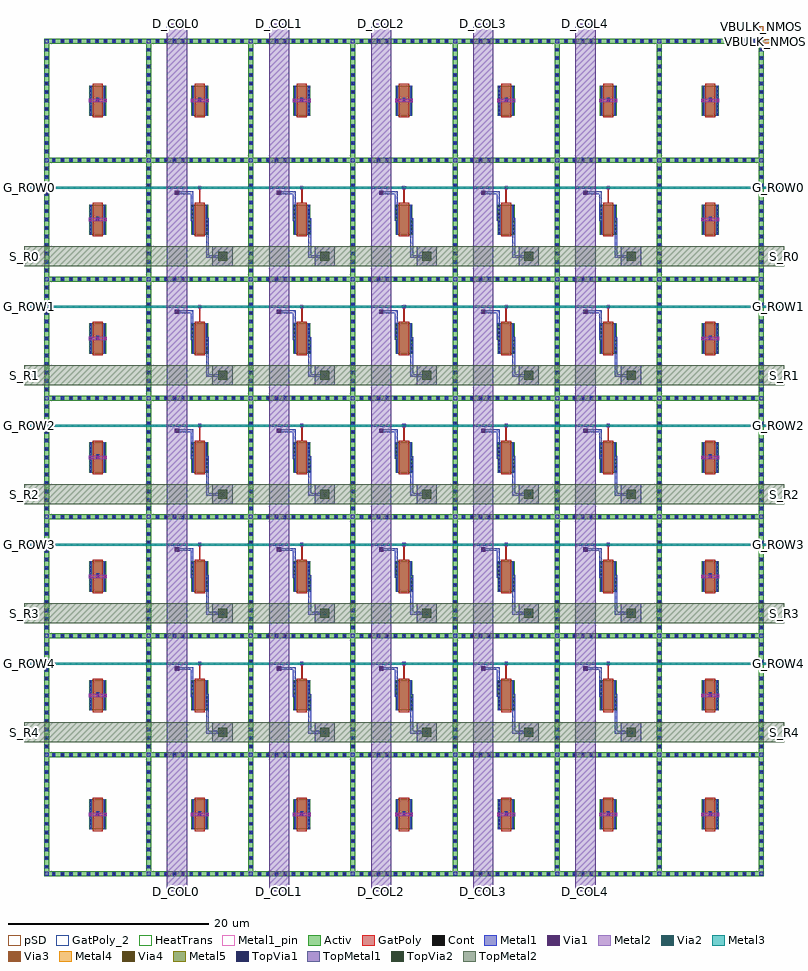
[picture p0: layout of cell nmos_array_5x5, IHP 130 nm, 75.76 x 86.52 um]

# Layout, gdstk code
import gdstk
lib = gdstk.Library(unit=1e-6, precision=1e-09)
def R(c, l, rs):  # rectangles x0, y0, x1, y1
    for r in rs: c.add(gdstk.rectangle(r[:2], r[2:], *l))
def A(c, l, x, y, w, h, nx, ny, dx, dy):  # array of equal rectangles
    R(c, l, [(x+i*dx, y+j*dy, x+i*dx+w, y+j*dy+h) for i in range(nx) for j in range(ny)])
Activ = (1, 0)
GatPoly = (5, 0)
GatPoly_2 = (5, 2)
Cont = (6, 0)
Metal1 = (8, 0)
Metal1_pin = (8, 2)
Metal2 = (10, 0)
pSD = (14, 0)
Via1 = (19, 0)
Via2 = (29, 0)
Metal3 = (30, 0)
Via3 = (49, 0)
Metal4 = (50, 0)
HeatTrans = (51, 0)
Via4 = (66, 0)
Metal5 = (67, 0)
TopVia1 = (125, 0)
TopMetal1 = (126, 0)
TopVia2 = (133, 0)
TopMetal2 = (134, 0)

nmos = lib.new_cell('nmos')
R(nmos, Activ, [(0,0,0.3,0.3), (0,0,1.68,3), (1.38,0,1.68,0.3)])
R(nmos, GatPoly, [(0.34,-0.18,1.34,3.18)])
R(nmos, GatPoly_2, [(0.34,-0.18,1.34,3.18)])
A(nmos, Cont, 0.07, 0.07, 0.16, 0.16, 1, 7, 0, 0.385)
A(nmos, Cont, 1.45, 0.07, 0.16, 0.16, 1, 7, 0, 0.385)
R(nmos, Cont, [(0.07,2.77,0.23,2.93), (1.45,2.77,1.61,2.93)])
R(nmos, Metal1, [(0.07,0,0.23,3), (1.45,0,1.61,3)])
R(nmos, Metal1_pin, [(0.07,0,0.23,3), (1.45,0,1.61,3)])
R(nmos, HeatTrans, [(0.34,-0.18,1.34,3.18)])
nmos.add(gdstk.Label('nmos', (0.84,1.5), layer=63, texttype=0))
nmos.add(gdstk.Label('nmos', (0.84,1.5), layer=51, texttype=0))

nmos_array_5x5 = lib.new_cell('nmos_array_5x5')
A(nmos_array_5x5, Activ, 0, 0, 0.5, 83.52, 8, 1, 10.18, 0)
A(nmos_array_5x5, Activ, 0, 0, 71.76, 0.5, 1, 8, 0, 11.86)
A(nmos_array_5x5, GatPoly, 5.275, 6.18, 0.13, 0.3, 7, 2, 10.18, 71.16)
A(nmos_array_5x5, GatPoly, 5.275, 18.04, 0.13, 0.3, 1, 5, 0, 11.86)
A(nmos_array_5x5, GatPoly, 66.355, 18.04, 0.13, 0.3, 1, 5, 0, 11.86)
A(nmos_array_5x5, GatPoly, 15.455, 19.72, 0.13, 1.5, 5, 5, 10.18, 11.86)
A(nmos_array_5x5, Cont, 0.86, 0.14, 0.22, 0.22, 11, 8, 0.86, 11.86)
A(nmos_array_5x5, Cont, 11.18, 0.14, 0.22, 0.22, 11, 8, 0.846, 11.86)
A(nmos_array_5x5, Cont, 21.36, 0.14, 0.22, 0.22, 11, 8, 0.846, 11.86)
A(nmos_array_5x5, Cont, 31.54, 0.14, 0.22, 0.22, 11, 8, 0.846, 11.86)
A(nmos_array_5x5, Cont, 41.72, 0.14, 0.22, 0.22, 11, 8, 0.846, 11.86)
A(nmos_array_5x5, Cont, 51.9, 0.14, 0.22, 0.22, 11, 8, 0.846, 11.86)
A(nmos_array_5x5, Cont, 62.08, 0.14, 0.22, 0.22, 11, 8, 0.846, 11.86)
A(nmos_array_5x5, Cont, 0.14, 0.856, 0.22, 0.22, 8, 13, 10.18, 0.857)
A(nmos_array_5x5, Cont, 5.23, 6.26, 0.22, 0.22, 7, 2, 10.18, 71.16)
A(nmos_array_5x5, Cont, 0.14, 12.86, 0.22, 0.22, 8, 13, 10.18, 0.845)
A(nmos_array_5x5, Cont, 5.23, 18.12, 0.22, 0.22, 1, 5, 0, 11.86)
A(nmos_array_5x5, Cont, 66.31, 18.12, 0.22, 0.22, 1, 5, 0, 11.86)
A(nmos_array_5x5, Cont, 15.41, 21.11, 0.22, 0.22, 5, 5, 10.18, 11.86)
A(nmos_array_5x5, Cont, 0.14, 24.72, 0.22, 0.22, 8, 13, 10.18, 0.845)
A(nmos_array_5x5, Cont, 0.14, 36.58, 0.22, 0.22, 8, 13, 10.18, 0.845)
A(nmos_array_5x5, Cont, 0.14, 48.44, 0.22, 0.22, 8, 13, 10.18, 0.845)
A(nmos_array_5x5, Cont, 0.14, 60.3, 0.22, 0.22, 8, 13, 10.18, 0.845)
A(nmos_array_5x5, Cont, 0.14, 72.16, 0.22, 0.22, 8, 13, 10.18, 0.845)
A(nmos_array_5x5, Metal1, 0.05, 0.05, 0.4, 0.4, 8, 8, 10.18, 11.86)
A(nmos_array_5x5, Metal1, 0.8, 0.08, 0.34, 0.34, 11, 8, 0.86, 11.86)
A(nmos_array_5x5, Metal1, 11.12, 0.08, 0.34, 0.34, 11, 8, 0.846, 11.86)
A(nmos_array_5x5, Metal1, 21.3, 0.08, 0.34, 0.34, 11, 8, 0.846, 11.86)
A(nmos_array_5x5, Metal1, 31.48, 0.08, 0.34, 0.34, 11, 8, 0.846, 11.86)
A(nmos_array_5x5, Metal1, 41.66, 0.08, 0.34, 0.34, 11, 8, 0.846, 11.86)
A(nmos_array_5x5, Metal1, 51.84, 0.08, 0.34, 0.34, 11, 8, 0.846, 11.86)
A(nmos_array_5x5, Metal1, 62.02, 0.08, 0.34, 0.34, 11, 8, 0.846, 11.86)
A(nmos_array_5x5, Metal1, 0.08, 0.796, 0.34, 0.34, 8, 13, 10.18, 0.857)
A(nmos_array_5x5, Metal1, 5.2, 6, 0.28, 0.48, 7, 2, 10.18, 71.16)
A(nmos_array_5x5, Metal1, 0.08, 12.8, 0.34, 0.34, 8, 13, 10.18, 0.845)
A(nmos_array_5x5, Metal1, 16.15, 14.22, 0.28, 3.96, 5, 5, 10.18, 11.86)
A(nmos_array_5x5, Metal1, 16.15, 14.22, 1.78, 0.28, 5, 5, 10.18, 11.86)
A(nmos_array_5x5, Metal1, 5.2, 17.86, 0.28, 0.48, 1, 5, 0, 11.86)
A(nmos_array_5x5, Metal1, 66.28, 17.86, 0.28, 0.48, 1, 5, 0, 11.86)
A(nmos_array_5x5, Metal1, 14.61, 17.9, 0.28, 2.96, 5, 5, 10.18, 11.86)
A(nmos_array_5x5, Metal1, 13.11, 20.58, 1.78, 0.28, 5, 5, 10.18, 11.86)
A(nmos_array_5x5, Metal1, 15.36, 21.06, 0.32, 0.32, 5, 5, 10.18, 11.86)
A(nmos_array_5x5, Metal1, 0.08, 24.66, 0.34, 0.34, 8, 13, 10.18, 0.845)
A(nmos_array_5x5, Metal1, 0.08, 36.52, 0.34, 0.34, 8, 13, 10.18, 0.845)
A(nmos_array_5x5, Metal1, 0.08, 48.38, 0.34, 0.34, 8, 13, 10.18, 0.845)
A(nmos_array_5x5, Metal1, 0.08, 60.24, 0.34, 0.34, 8, 13, 10.18, 0.845)
A(nmos_array_5x5, Metal1, 0.08, 72.1, 0.34, 0.34, 8, 13, 10.18, 0.845)
A(nmos_array_5x5, Metal2, 4.45, 6, 1.78, 0.36, 7, 2, 10.18, 71.16)
A(nmos_array_5x5, Metal2, 17.635, 14.205, 0.31, 0.31, 5, 5, 10.18, 11.86)
A(nmos_array_5x5, Metal2, 4.45, 17.86, 1.78, 0.36, 1, 5, 0, 11.86)
A(nmos_array_5x5, Metal2, 65.53, 17.86, 1.78, 0.36, 1, 5, 0, 11.86)
A(nmos_array_5x5, Metal2, 13.095, 20.565, 0.31, 0.31, 5, 5, 10.18, 11.86)
A(nmos_array_5x5, Metal2, 15.375, 21.075, 0.29, 0.29, 5, 5, 10.18, 11.86)
R(nmos_array_5x5, Metal2, [(71.33,83.09,71.69,83.45)])
A(nmos_array_5x5, pSD, 0, 0, 0.5, 83.52, 8, 1, 10.18, 0)
A(nmos_array_5x5, pSD, 0, 0, 71.76, 0.5, 1, 8, 0, 11.86)
A(nmos_array_5x5, Via1, 4.555, 6.085, 0.19, 0.19, 3, 7, 0.69, 11.86)
A(nmos_array_5x5, Via1, 14.735, 6.085, 0.19, 0.19, 3, 2, 0.69, 71.16)
A(nmos_array_5x5, Via1, 24.915, 6.085, 0.19, 0.19, 3, 2, 0.69, 71.16)
A(nmos_array_5x5, Via1, 35.095, 6.085, 0.19, 0.19, 3, 2, 0.69, 71.16)
A(nmos_array_5x5, Via1, 45.275, 6.085, 0.19, 0.19, 3, 2, 0.69, 71.16)
A(nmos_array_5x5, Via1, 55.455, 6.085, 0.19, 0.19, 3, 2, 0.69, 71.16)
A(nmos_array_5x5, Via1, 65.635, 6.085, 0.19, 0.19, 3, 7, 0.69, 11.86)
A(nmos_array_5x5, Via1, 17.695, 14.265, 0.19, 0.19, 5, 5, 10.18, 11.86)
A(nmos_array_5x5, Via1, 13.155, 20.625, 0.19, 0.19, 5, 5, 10.18, 11.86)
A(nmos_array_5x5, Via1, 15.425, 21.125, 0.19, 0.19, 5, 5, 10.18, 11.86)
R(nmos_array_5x5, Via1, [(71.415,83.175,71.605,83.365)])
A(nmos_array_5x5, Via2, 17.695, 14.265, 0.19, 0.19, 5, 5, 10.18, 11.86)
A(nmos_array_5x5, Via2, 13.155, 20.625, 0.19, 0.19, 5, 5, 10.18, 11.86)
A(nmos_array_5x5, Via2, 15.425, 21.125, 0.19, 0.19, 5, 5, 10.18, 11.86)
R(nmos_array_5x5, Via2, [(71.415,83.175,71.605,83.365)])
A(nmos_array_5x5, Metal3, 17.635, 14.205, 0.31, 0.31, 5, 5, 10.18, 11.86)
A(nmos_array_5x5, Metal3, 13.095, 20.565, 0.31, 0.31, 5, 5, 10.18, 11.86)
A(nmos_array_5x5, Metal3, -1.6, 21.12, 74.96, 0.2, 1, 5, 0, 11.86)
A(nmos_array_5x5, Metal3, 15.42, 21.12, 0.2, 0.2, 5, 5, 10.18, 11.86)
R(nmos_array_5x5, Metal3, [(71.41,83.17,71.61,83.37)])
A(nmos_array_5x5, Via3, 17.695, 14.265, 0.19, 0.19, 5, 5, 10.18, 11.86)
A(nmos_array_5x5, Via3, 13.155, 20.625, 0.19, 0.19, 5, 5, 10.18, 11.86)
R(nmos_array_5x5, Via3, [(71.415,83.175,71.605,83.365)])
A(nmos_array_5x5, Metal4, 17.635, 14.205, 0.31, 0.31, 5, 5, 10.18, 11.86)
A(nmos_array_5x5, Metal4, 13.095, 20.565, 0.31, 0.31, 5, 5, 10.18, 11.86)
R(nmos_array_5x5, Metal4, [(71.31,83.07,73.01,83.47), (71.31,83.07,71.71,84.77)])
A(nmos_array_5x5, Via4, 17.695, 14.265, 0.19, 0.19, 5, 5, 10.18, 11.86)
A(nmos_array_5x5, Via4, 13.155, 20.625, 0.19, 0.19, 5, 5, 10.18, 11.86)
A(nmos_array_5x5, Metal5, 17.635, 14.205, 0.31, 0.31, 5, 5, 10.18, 11.86)
A(nmos_array_5x5, Metal5, 13.095, 20.565, 0.31, 0.31, 5, 5, 10.18, 11.86)
A(nmos_array_5x5, TopVia1, 17.58, 14.15, 0.42, 0.42, 5, 5, 10.18, 11.86)
A(nmos_array_5x5, TopVia1, 13.04, 20.51, 0.42, 0.42, 5, 5, 10.18, 11.86)
A(nmos_array_5x5, TopMetal1, 12.25, -1.5, 2, 86.52, 5, 1, 10.18, 0)
A(nmos_array_5x5, TopMetal1, 16.79, 13.36, 2, 2, 5, 5, 10.18, 11.86)
A(nmos_array_5x5, TopMetal1, 12.25, 19.72, 2, 2, 5, 5, 10.18, 11.86)
A(nmos_array_5x5, TopVia2, 17.34, 13.91, 0.9, 0.9, 5, 5, 10.18, 11.86)
A(nmos_array_5x5, TopMetal2, -2, 13.36, 75.76, 2, 1, 5, 0, 11.86)
A(nmos_array_5x5, TopMetal2, 16.79, 13.36, 2, 2, 5, 5, 10.18, 11.86)
nmos_array_5x5.add(gdstk.Reference(nmos, (4.5,4.68)))
nmos_array_5x5.add(gdstk.Reference(nmos, (14.68,4.68)))
nmos_array_5x5.add(gdstk.Reference(nmos, (24.86,4.68)))
nmos_array_5x5.add(gdstk.Reference(nmos, (35.04,4.68)))
nmos_array_5x5.add(gdstk.Reference(nmos, (45.22,4.68)))
nmos_array_5x5.add(gdstk.Reference(nmos, (55.4,4.68)))
nmos_array_5x5.add(gdstk.Reference(nmos, (65.58,4.68)))
nmos_array_5x5.add(gdstk.Reference(nmos, (4.5,16.54)))
nmos_array_5x5.add(gdstk.Reference(nmos, (14.68,16.54)))
nmos_array_5x5.add(gdstk.Reference(nmos, (24.86,16.54)))
nmos_array_5x5.add(gdstk.Reference(nmos, (35.04,16.54)))
nmos_array_5x5.add(gdstk.Reference(nmos, (45.22,16.54)))
nmos_array_5x5.add(gdstk.Reference(nmos, (55.4,16.54)))
nmos_array_5x5.add(gdstk.Reference(nmos, (65.58,16.54)))
nmos_array_5x5.add(gdstk.Reference(nmos, (4.5,28.4)))
nmos_array_5x5.add(gdstk.Reference(nmos, (14.68,28.4)))
nmos_array_5x5.add(gdstk.Reference(nmos, (24.86,28.4)))
nmos_array_5x5.add(gdstk.Reference(nmos, (35.04,28.4)))
nmos_array_5x5.add(gdstk.Reference(nmos, (45.22,28.4)))
nmos_array_5x5.add(gdstk.Reference(nmos, (55.4,28.4)))
nmos_array_5x5.add(gdstk.Reference(nmos, (65.58,28.4)))
nmos_array_5x5.add(gdstk.Reference(nmos, (4.5,40.26)))
nmos_array_5x5.add(gdstk.Reference(nmos, (14.68,40.26)))
nmos_array_5x5.add(gdstk.Reference(nmos, (24.86,40.26)))
nmos_array_5x5.add(gdstk.Reference(nmos, (35.04,40.26)))
nmos_array_5x5.add(gdstk.Reference(nmos, (45.22,40.26)))
nmos_array_5x5.add(gdstk.Reference(nmos, (55.4,40.26)))
nmos_array_5x5.add(gdstk.Reference(nmos, (65.58,40.26)))
nmos_array_5x5.add(gdstk.Reference(nmos, (4.5,52.12)))
nmos_array_5x5.add(gdstk.Reference(nmos, (14.68,52.12)))
nmos_array_5x5.add(gdstk.Reference(nmos, (24.86,52.12)))
nmos_array_5x5.add(gdstk.Reference(nmos, (35.04,52.12)))
nmos_array_5x5.add(gdstk.Reference(nmos, (45.22,52.12)))
nmos_array_5x5.add(gdstk.Reference(nmos, (55.4,52.12)))
nmos_array_5x5.add(gdstk.Reference(nmos, (65.58,52.12)))
nmos_array_5x5.add(gdstk.Reference(nmos, (4.5,63.98)))
nmos_array_5x5.add(gdstk.Reference(nmos, (14.68,63.98)))
nmos_array_5x5.add(gdstk.Reference(nmos, (24.86,63.98)))
nmos_array_5x5.add(gdstk.Reference(nmos, (35.04,63.98)))
nmos_array_5x5.add(gdstk.Reference(nmos, (45.22,63.98)))
nmos_array_5x5.add(gdstk.Reference(nmos, (55.4,63.98)))
nmos_array_5x5.add(gdstk.Reference(nmos, (65.58,63.98)))
nmos_array_5x5.add(gdstk.Reference(nmos, (4.5,75.84)))
nmos_array_5x5.add(gdstk.Reference(nmos, (14.68,75.84)))
nmos_array_5x5.add(gdstk.Reference(nmos, (24.86,75.84)))
nmos_array_5x5.add(gdstk.Reference(nmos, (35.04,75.84)))
nmos_array_5x5.add(gdstk.Reference(nmos, (45.22,75.84)))
nmos_array_5x5.add(gdstk.Reference(nmos, (55.4,75.84)))
nmos_array_5x5.add(gdstk.Reference(nmos, (65.58,75.84)))
nmos_array_5x5.add(gdstk.Label('VBULK_NMOS', (73.01,83.27), layer=63, texttype=0))
nmos_array_5x5.add(gdstk.Label('VBULK_NMOS', (71.51,84.77), layer=63, texttype=0))
nmos_array_5x5.add(gdstk.Label('G_ROW4', (-1.5,21.22), layer=63, texttype=0))
nmos_array_5x5.add(gdstk.Label('G_ROW4', (73.26,21.22), layer=63, texttype=0))
nmos_array_5x5.add(gdstk.Label('G_ROW3', (-1.5,33.08), layer=63, texttype=0))
nmos_array_5x5.add(gdstk.Label('G_ROW3', (73.26,33.08), layer=63, texttype=0))
nmos_array_5x5.add(gdstk.Label('G_ROW2', (-1.5,44.94), layer=63, texttype=0))
nmos_array_5x5.add(gdstk.Label('G_ROW2', (73.26,44.94), layer=63, texttype=0))
nmos_array_5x5.add(gdstk.Label('G_ROW1', (-1.5,56.8), layer=63, texttype=0))
nmos_array_5x5.add(gdstk.Label('G_ROW1', (73.26,56.8), layer=63, texttype=0))
nmos_array_5x5.add(gdstk.Label('G_ROW0', (-1.5,68.66), layer=63, texttype=0))
nmos_array_5x5.add(gdstk.Label('G_ROW0', (73.26,68.66), layer=63, texttype=0))
nmos_array_5x5.add(gdstk.Label('D_COL0', (13.25,-1.5), layer=63, texttype=0))
nmos_array_5x5.add(gdstk.Label('D_COL0', (13.25,85.02), layer=63, texttype=0))
nmos_array_5x5.add(gdstk.Label('D_COL1', (23.43,-1.5), layer=63, texttype=0))
nmos_array_5x5.add(gdstk.Label('D_COL1', (23.43,85.02), layer=63, texttype=0))
nmos_array_5x5.add(gdstk.Label('D_COL2', (33.61,-1.5), layer=63, texttype=0))
nmos_array_5x5.add(gdstk.Label('D_COL2', (33.61,85.02), layer=63, texttype=0))
nmos_array_5x5.add(gdstk.Label('D_COL3', (43.79,-1.5), layer=63, texttype=0))
nmos_array_5x5.add(gdstk.Label('D_COL3', (43.79,85.02), layer=63, texttype=0))
nmos_array_5x5.add(gdstk.Label('D_COL4', (53.97,-1.5), layer=63, texttype=0))
nmos_array_5x5.add(gdstk.Label('D_COL4', (53.97,85.02), layer=63, texttype=0))
nmos_array_5x5.add(gdstk.Label('S_R4', (-2,14.36), layer=63, texttype=0))
nmos_array_5x5.add(gdstk.Label('S_R4', (73.76,14.36), layer=63, texttype=0))
nmos_array_5x5.add(gdstk.Label('S_R3', (-2,26.22), layer=63, texttype=0))
nmos_array_5x5.add(gdstk.Label('S_R3', (73.76,26.22), layer=63, texttype=0))
nmos_array_5x5.add(gdstk.Label('S_R2', (-2,38.08), layer=63, texttype=0))
nmos_array_5x5.add(gdstk.Label('S_R2', (73.76,38.08), layer=63, texttype=0))
nmos_array_5x5.add(gdstk.Label('S_R1', (-2,49.94), layer=63, texttype=0))
nmos_array_5x5.add(gdstk.Label('S_R1', (73.76,49.94), layer=63, texttype=0))
nmos_array_5x5.add(gdstk.Label('S_R0', (-2,61.8), layer=63, texttype=0))
nmos_array_5x5.add(gdstk.Label('S_R0', (73.76,61.8), layer=63, texttype=0))

lib.write_gds('nmos_array_5x5.gds')
